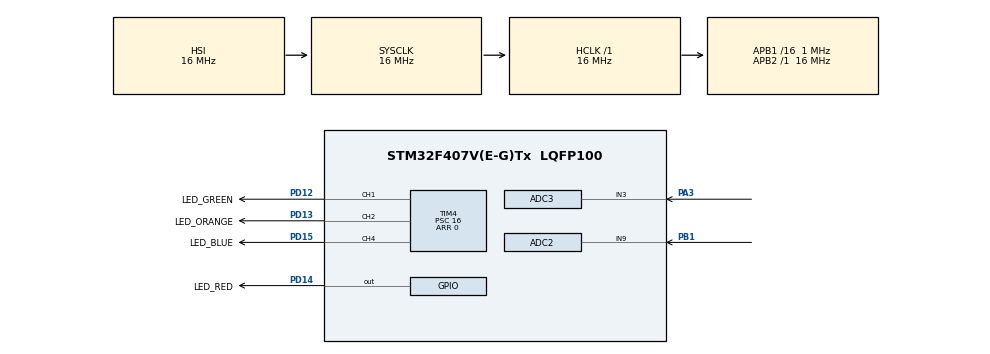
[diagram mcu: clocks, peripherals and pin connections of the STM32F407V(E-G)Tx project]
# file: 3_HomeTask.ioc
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ADC1.Channel-0\#ChannelRegularConversion=ADC_CHANNEL_TEMPSENSOR
ADC1.ClockPrescaler=ADC_CLOCK_SYNC_PCLK_DIV2
ADC1.ContinuousConvMode=ENABLE
ADC1.DiscontinuousConvMode=DISABLE
ADC1.EOCSelection=ADC_EOC_SINGLE_CONV
ADC1.InjNumberOfConversion=0
ADC1.NbrOfConversion=1
ADC1.NbrOfConversionFlag=1
ADC1.Rank-0\#ChannelRegularConversion=1
ADC1.SamplingTime-0\#ChannelRegularConversion=ADC_SAMPLETIME_112CYCLES
ADC1.master=1
ADC2.Channel-0\#ChannelRegularConversion=ADC_CHANNEL_9
ADC2.NbrOfConversionFlag=1
ADC2.Rank-0\#ChannelRegularConversion=1
ADC2.SamplingTime-0\#ChannelRegularConversion=ADC_SAMPLETIME_480CYCLES
ADC3.Channel-0\#ChannelRegularConversion=ADC_CHANNEL_3
ADC3.NbrOfConversionFlag=1
ADC3.Rank-0\#ChannelRegularConversion=1
ADC3.SamplingTime-0\#ChannelRegularConversion=ADC_SAMPLETIME_480CYCLES
Mcu.Family=STM32F4
Mcu.Name=STM32F407V(E-G)Tx
Mcu.Package=LQFP100
NVIC.PriorityGroup=NVIC_PRIORITYGROUP_4
PA3.Signal=ADCx_IN3
PB1.Signal=ADCx_IN9
PD12.GPIO_Label=LED_GREEN
PD12.GPIO_PuPd=GPIO_PULLDOWN
PD12.Signal=S_TIM4_CH1
PD13.GPIO_Label=LED_ORANGE
PD13.GPIO_PuPd=GPIO_PULLDOWN
PD13.Signal=S_TIM4_CH2
PD14.GPIO_Label=LED_RED
PD14.GPIO_PuPd=GPIO_PULLDOWN
PD14.GPIO_Speed=GPIO_SPEED_FREQ_LOW
PD14.Signal=GPIO_Output
PD15.GPIO_Label=LED_BLUE
PD15.GPIO_PuPd=GPIO_PULLDOWN
PD15.Signal=S_TIM4_CH4
ProjectManager.HeapSize=0x200
ProjectManager.StackSize=0x400
ProjectManager.TargetToolchain=STM32CubeIDE
RCC.48MHZClocksFreq_Value=48000000
RCC.AHBFreq_Value=16000000
RCC.APB1CLKDivider=RCC_HCLK_DIV16
RCC.APB1Freq_Value=1000000
RCC.APB1TimFreq_Value=2000000
RCC.APB2Freq_Value=16000000
RCC.APB2TimFreq_Value=16000000
RCC.CortexFreq_Value=16000000
RCC.HCLKFreq_Value=16000000
RCC.HSE_VALUE=25000000
RCC.HSI_VALUE=16000000
RCC.LSE_VALUE=32768
RCC.SYSCLKFreq_VALUE=16000000
RCC.VCOOutputFreq_Value=192000000
SH.ADCx_IN3.0=ADC3_IN3,IN3
SH.ADCx_IN9.0=ADC2_IN9,IN9
SH.S_TIM4_CH1.0=TIM4_CH1,PWM Generation1 CH1
SH.S_TIM4_CH2.0=TIM4_CH2,PWM Generation2 CH2
SH.S_TIM4_CH4.0=TIM4_CH4,PWM Generation4 CH4
TIM4.Channel-PWM\ Generation1\ CH1=TIM_CHANNEL_1
TIM4.Channel-PWM\ Generation2\ CH2=TIM_CHANNEL_2
TIM4.Channel-PWM\ Generation4\ CH4=TIM_CHANNEL_4
TIM4.Period=0
TIM4.Prescaler=16
TIM4.Pulse-PWM\ Generation1\ CH1=0
TIM4.Pulse-PWM\ Generation2\ CH2=0
TIM4.Pulse-PWM\ Generation4\ CH4=0
VP_ADC1_TempSens_Input.Mode=IN-TempSens
VP_TIM4_VS_ClockSourceINT.Mode=Internal
board=custom

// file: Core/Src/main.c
/* USER CODE BEGIN Header */
/**
 ******************************************************************************
 * @file           : main.c
 * @brief          : Main program body
 ******************************************************************************
 * @attention
 *
 * <h2><center>&copy; Copyright (c) 2021 STMicroelectronics.
 * All rights reserved.</center></h2>
 *
 * This software component is licensed by ST under BSD 3-Clause license,
 * the "License"; You may not use this file except in compliance with the
 * License. You may obtain a copy of the License at:
 *                        opensource.org/licenses/BSD-3-Clause
 *
 ******************************************************************************
 */
/* USER CODE END Header */
#include "main.h"

/* USER CODE BEGIN PTD */

typedef enum
{
	NORMAL, EMERGENCY_SIT
} state;

/* USER CODE END PTD */

/* USER CODE BEGIN PD */
#define CRITICAL_INT_TEMP 60  //critical internal temperature (°C) at which emergency mode is activated
#define HYSTERESIS_INT_TEMP 5 //hysteresis with decreasing internal temperature
#define CRITICAL_EXT_TEMP 60  //critical external temperature (°C) at which emergency mode is activated
#define HYSTERESIS_EXT_TEMP 5     //hysteresis with decreasing external temperature
#define CRITICAL_POT_VALUE 90 //critical value from the potentiometer, at which the emergency mode is activated
#define HYSTERESIS_POT 10     //hysteresis with decreasing value from the potentiometer
/* USER CODE END PD */

ADC_HandleTypeDef hadc1;
ADC_HandleTypeDef hadc2;
ADC_HandleTypeDef hadc3;

TIM_HandleTypeDef htim4;

/* USER CODE BEGIN PV */
volatile uint32_t emergency_timer = 0; //see stm32f4xx_it.c lines 48,192
state channel_1_state = NORMAL;
state channel_2_state = NORMAL;
state channel_3_state = NORMAL;
uint8_t emergency_tot = 0; //total number of active emergencies
/* USER CODE END PV */

void SystemClock_Config(void);
static void MX_GPIO_Init(void);
static void MX_ADC1_Init(void);
static void MX_TIM4_Init(void);
static void MX_ADC2_Init(void);
static void MX_ADC3_Init(void);

/* USER CODE BEGIN 0 */

void IndicateADC(uint32_t green_duty_cycle, uint32_t orange_duty_cycle, uint32_t blue_duty_cycle)
{
	TIM4->CCR1 = green_duty_cycle; //external temp
	TIM4->CCR2 = orange_duty_cycle; //internal temp
	TIM4->CCR4 = blue_duty_cycle; //potentiometer voltage
	emergency_tot = channel_1_state + channel_2_state + channel_3_state; //total number of active emergencies
	if (emergency_tot == 0 && HAL_GPIO_ReadPin(GPIOD, LED_RED_Pin) == GPIO_PIN_SET)
		HAL_GPIO_WritePin(GPIOD, LED_RED_Pin, GPIO_PIN_RESET);
	switch (emergency_tot)
	{
	case 1: //RED emergency blinking frequency 1 Hz (duty cycle 500ms/1000ms =50%)
		if (emergency_timer >= 500)
		{
			HAL_GPIO_TogglePin(GPIOD, LED_RED_Pin);
			emergency_timer = 0;
		}

		break;
	case 2: //RED emergency blinking frequency 2.5 Hz (duty cycle 200ms/400ms =50%)
		if (emergency_timer >= 200)
		{
			HAL_GPIO_TogglePin(GPIOD, LED_RED_Pin);
			emergency_timer = 0;
		}

		break;
	case 3: //RED emergency blinking frequency 5 Hz (duty cycle 100ms/200ms =50%)
		if (emergency_timer >= 100)
		{
			HAL_GPIO_TogglePin(GPIOD, LED_RED_Pin);
			emergency_timer = 0;
		}
		break;
	}
}

uint32_t GetPotentiometerVoltage(void)
{
	volatile HAL_StatusTypeDef adcPoolResult;
	uint32_t valuePot = 0;
	HAL_ADC_Start(&hadc3);
	adcPoolResult = HAL_ADC_PollForConversion(&hadc3, 1);
	if (adcPoolResult == HAL_OK)
	{
		valuePot = (HAL_ADC_GetValue(&hadc3) * 100) / 4095;
		if ((valuePot) > CRITICAL_POT_VALUE)
		{
			channel_1_state = EMERGENCY_SIT;
		}
		else if ((valuePot + HYSTERESIS_POT) < CRITICAL_POT_VALUE)
		{
			channel_1_state = NORMAL;
		}
	}
	HAL_ADC_Stop(&hadc3);
	return valuePot;
}

uint32_t GetInternalTemperature(void)
{
	volatile HAL_StatusTypeDef adcPoolResult;
	uint32_t internalTemp = 0, valueInTemp = 0;
	double voltageInTemp;
	HAL_ADC_Start(&hadc1);
	adcPoolResult = HAL_ADC_PollForConversion(&hadc1, 100);
	if (adcPoolResult == HAL_OK)
	{
		valueInTemp = HAL_ADC_GetValue(&hadc1); // read value from internal temperature sensor
		voltageInTemp = (double) valueInTemp * (3.3 / 4096); //convert valueInTemp to voltage
		internalTemp = (voltageInTemp - 0.76) / 0.0025 + 25; //convert voltage to temperature in °C
		if (internalTemp > CRITICAL_INT_TEMP)
		{
			channel_2_state = EMERGENCY_SIT;
		}
		else if ((internalTemp + HYSTERESIS_INT_TEMP) < CRITICAL_INT_TEMP)
		{
			channel_2_state = NORMAL;
		}
	}
	HAL_ADC_Stop(&hadc1);
	return internalTemp;
}

uint32_t GetExternalTemperature(void)
{
	volatile HAL_StatusTypeDef adcPoolResult;
	uint32_t externalTemp = 0, valueExTemp = 0;
	HAL_ADC_Start(&hadc2);
	adcPoolResult = HAL_ADC_PollForConversion(&hadc2, 100);
	if (adcPoolResult == HAL_OK)
	{
		valueExTemp = HAL_ADC_GetValue(&hadc2); // read value from external temperature sensor
		externalTemp = ((4095 - valueExTemp) * 124) / 4095 - 24; //convert value to temperature in the range from -24 to 100°C.
		if (externalTemp > CRITICAL_EXT_TEMP)
		{
			channel_3_state = EMERGENCY_SIT;
		}
		else if ((externalTemp + HYSTERESIS_EXT_TEMP) < CRITICAL_EXT_TEMP)
		{
			channel_3_state = NORMAL;
		}
	}
	HAL_ADC_Stop(&hadc2);
	return externalTemp;
}
/* USER CODE END 0 */

int main(void)
{

	/* MCU Configuration--------------------------------------------------------*/

	/* Reset of all peripherals, Initializes the Flash interface and the Systick. */
	HAL_Init();

	/* Configure the system clock */
	SystemClock_Config();

	/* Initialize all configured peripherals */
	MX_GPIO_Init();
	MX_ADC1_Init();
	MX_TIM4_Init();
	MX_ADC2_Init();
	MX_ADC3_Init();
	/* USER CODE BEGIN 2 */
	HAL_TIM_PWM_Start(&htim4, TIM_CHANNEL_1);
	HAL_TIM_PWM_Start(&htim4, TIM_CHANNEL_2);
	HAL_TIM_PWM_Start(&htim4, TIM_CHANNEL_3);
	HAL_TIM_PWM_Start(&htim4, TIM_CHANNEL_4);
	TIM4->ARR = 100; //set TIM4 counter period
	/* USER CODE END 2 */

	/* Infinite loop */
	/* USER CODE BEGIN WHILE */

	while (1)
	{
		uint32_t valuePot = GetPotentiometerVoltage();
		uint32_t internalTemp = GetInternalTemperature();
		uint32_t externalTemp = GetExternalTemperature();
		IndicateADC(externalTemp, internalTemp, valuePot);
		/* USER CODE END WHILE */

	}
}

void SystemClock_Config(void)
{
	RCC_OscInitTypeDef RCC_OscInitStruct =
	{ 0 };
	RCC_ClkInitTypeDef RCC_ClkInitStruct =
	{ 0 };

	/** Configure the main internal regulator output voltage
	 */
	__HAL_RCC_PWR_CLK_ENABLE();
	__HAL_PWR_VOLTAGESCALING_CONFIG(PWR_REGULATOR_VOLTAGE_SCALE1);
	/** Initializes the RCC Oscillators according to the specified parameters
	 * in the RCC_OscInitTypeDef structure.
	 */
	RCC_OscInitStruct.OscillatorType = RCC_OSCILLATORTYPE_HSI;
	RCC_OscInitStruct.HSIState = RCC_HSI_ON;
	RCC_OscInitStruct.HSICalibrationValue = RCC_HSICALIBRATION_DEFAULT;
	RCC_OscInitStruct.PLL.PLLState = RCC_PLL_NONE;
	if (HAL_RCC_OscConfig(&RCC_OscInitStruct) != HAL_OK)
	{
		Error_Handler();
	}
	/** Initializes the CPU, AHB and APB buses clocks
	 */
	RCC_ClkInitStruct.ClockType = RCC_CLOCKTYPE_HCLK | RCC_CLOCKTYPE_SYSCLK | RCC_CLOCKTYPE_PCLK1 | RCC_CLOCKTYPE_PCLK2;
	RCC_ClkInitStruct.SYSCLKSource = RCC_SYSCLKSOURCE_HSI;
	RCC_ClkInitStruct.AHBCLKDivider = RCC_SYSCLK_DIV1;
	RCC_ClkInitStruct.APB1CLKDivider = RCC_HCLK_DIV16;
	RCC_ClkInitStruct.APB2CLKDivider = RCC_HCLK_DIV1;

	if (HAL_RCC_ClockConfig(&RCC_ClkInitStruct, FLASH_LATENCY_0) != HAL_OK)
	{
		Error_Handler();
	}
}

static void MX_ADC1_Init(void)
{

	ADC_ChannelConfTypeDef sConfig =
	{ 0 };

	/** Configure the global features of the ADC (Clock, Resolution, Data Alignment and number of conversion)
	 */
	hadc1.Instance = ADC1;
	hadc1.Init.ClockPrescaler = ADC_CLOCK_SYNC_PCLK_DIV2;
	hadc1.Init.Resolution = ADC_RESOLUTION_12B;
	hadc1.Init.ScanConvMode = DISABLE;
	hadc1.Init.ContinuousConvMode = ENABLE;
	hadc1.Init.DiscontinuousConvMode = DISABLE;
	hadc1.Init.ExternalTrigConvEdge = ADC_EXTERNALTRIGCONVEDGE_NONE;
	hadc1.Init.ExternalTrigConv = ADC_SOFTWARE_START;
	hadc1.Init.DataAlign = ADC_DATAALIGN_RIGHT;
	hadc1.Init.NbrOfConversion = 1;
	hadc1.Init.DMAContinuousRequests = DISABLE;
	hadc1.Init.EOCSelection = ADC_EOC_SINGLE_CONV;
	if (HAL_ADC_Init(&hadc1) != HAL_OK)
	{
		Error_Handler();
	}
	/** Configure for the selected ADC regular channel its corresponding rank in the sequencer and its sample time.
	 */
	sConfig.Channel = ADC_CHANNEL_TEMPSENSOR;
	sConfig.Rank = 1;
	sConfig.SamplingTime = ADC_SAMPLETIME_112CYCLES;
	if (HAL_ADC_ConfigChannel(&hadc1, &sConfig) != HAL_OK)
	{
		Error_Handler();
	}

}

static void MX_ADC2_Init(void)
{

	ADC_ChannelConfTypeDef sConfig =
	{ 0 };

	/** Configure the global features of the ADC (Clock, Resolution, Data Alignment and number of conversion)
	 */
	hadc2.Instance = ADC2;
	hadc2.Init.ClockPrescaler = ADC_CLOCK_SYNC_PCLK_DIV2;
	hadc2.Init.Resolution = ADC_RESOLUTION_12B;
	hadc2.Init.ScanConvMode = DISABLE;
	hadc2.Init.ContinuousConvMode = ENABLE;
	hadc2.Init.DiscontinuousConvMode = DISABLE;
	hadc2.Init.ExternalTrigConvEdge = ADC_EXTERNALTRIGCONVEDGE_NONE;
	hadc2.Init.ExternalTrigConv = ADC_SOFTWARE_START;
	hadc2.Init.DataAlign = ADC_DATAALIGN_RIGHT;
	hadc2.Init.NbrOfConversion = 1;
	hadc2.Init.DMAContinuousRequests = DISABLE;
	hadc2.Init.EOCSelection = ADC_EOC_SINGLE_CONV;
	if (HAL_ADC_Init(&hadc2) != HAL_OK)
	{
		Error_Handler();
	}
	/** Configure for the selected ADC regular channel its corresponding rank in the sequencer and its sample time.
	 */
	sConfig.Channel = ADC_CHANNEL_9;
	sConfig.Rank = 1;
	sConfig.SamplingTime = ADC_SAMPLETIME_480CYCLES;
	if (HAL_ADC_ConfigChannel(&hadc2, &sConfig) != HAL_OK)
	{
		Error_Handler();
	}

}

static void MX_ADC3_Init(void)
{

	ADC_ChannelConfTypeDef sConfig =
	{ 0 };

	/** Configure the global features of the ADC (Clock, Resolution, Data Alignment and number of conversion)
	 */
	hadc3.Instance = ADC3;
	hadc3.Init.ClockPrescaler = ADC_CLOCK_SYNC_PCLK_DIV2;
	hadc3.Init.Resolution = ADC_RESOLUTION_12B;
	hadc3.Init.ScanConvMode = DISABLE;
	hadc3.Init.ContinuousConvMode = ENABLE;
	hadc3.Init.DiscontinuousConvMode = DISABLE;
	hadc3.Init.ExternalTrigConvEdge = ADC_EXTERNALTRIGCONVEDGE_NONE;
	hadc3.Init.ExternalTrigConv = ADC_SOFTWARE_START;
	hadc3.Init.DataAlign = ADC_DATAALIGN_RIGHT;
	hadc3.Init.NbrOfConversion = 1;
	hadc3.Init.DMAContinuousRequests = DISABLE;
	hadc3.Init.EOCSelection = ADC_EOC_SINGLE_CONV;
	if (HAL_ADC_Init(&hadc3) != HAL_OK)
	{
		Error_Handler();
	}
	/** Configure for the selected ADC regular channel its corresponding rank in the sequencer and its sample time.
	 */
	sConfig.Channel = ADC_CHANNEL_3;
	sConfig.Rank = 1;
	sConfig.SamplingTime = ADC_SAMPLETIME_480CYCLES;
	if (HAL_ADC_ConfigChannel(&hadc3, &sConfig) != HAL_OK)
	{
		Error_Handler();
	}

}

static void MX_TIM4_Init(void)
{

	TIM_ClockConfigTypeDef sClockSourceConfig =
	{ 0 };
	TIM_MasterConfigTypeDef sMasterConfig =
	{ 0 };
	TIM_OC_InitTypeDef sConfigOC =
	{ 0 };

	htim4.Instance = TIM4;
	htim4.Init.Prescaler = 16;
	htim4.Init.CounterMode = TIM_COUNTERMODE_UP;
	htim4.Init.Period = 0;
	htim4.Init.ClockDivision = TIM_CLOCKDIVISION_DIV1;
	htim4.Init.AutoReloadPreload = TIM_AUTORELOAD_PRELOAD_DISABLE;
	if (HAL_TIM_Base_Init(&htim4) != HAL_OK)
	{
		Error_Handler();
	}
	sClockSourceConfig.ClockSource = TIM_CLOCKSOURCE_INTERNAL;
	if (HAL_TIM_ConfigClockSource(&htim4, &sClockSourceConfig) != HAL_OK)
	{
		Error_Handler();
	}
	if (HAL_TIM_PWM_Init(&htim4) != HAL_OK)
	{
		Error_Handler();
	}
	sMasterConfig.MasterOutputTrigger = TIM_TRGO_RESET;
	sMasterConfig.MasterSlaveMode = TIM_MASTERSLAVEMODE_DISABLE;
	if (HAL_TIMEx_MasterConfigSynchronization(&htim4, &sMasterConfig) != HAL_OK)
	{
		Error_Handler();
	}
	sConfigOC.OCMode = TIM_OCMODE_PWM1;
	sConfigOC.Pulse = 0;
	sConfigOC.OCPolarity = TIM_OCPOLARITY_HIGH;
	sConfigOC.OCFastMode = TIM_OCFAST_DISABLE;
	if (HAL_TIM_PWM_ConfigChannel(&htim4, &sConfigOC, TIM_CHANNEL_1) != HAL_OK)
	{
		Error_Handler();
	}
	if (HAL_TIM_PWM_ConfigChannel(&htim4, &sConfigOC, TIM_CHANNEL_2) != HAL_OK)
	{
		Error_Handler();
	}
	if (HAL_TIM_PWM_ConfigChannel(&htim4, &sConfigOC, TIM_CHANNEL_4) != HAL_OK)
	{
		Error_Handler();
	}
	HAL_TIM_MspPostInit(&htim4);

}

static void MX_GPIO_Init(void)
{
	GPIO_InitTypeDef GPIO_InitStruct =
	{ 0 };

	/* GPIO Ports Clock Enable */
	__HAL_RCC_GPIOA_CLK_ENABLE();
	__HAL_RCC_GPIOB_CLK_ENABLE();
	__HAL_RCC_GPIOD_CLK_ENABLE();

	/*Configure GPIO pin Output Level */
	HAL_GPIO_WritePin(LED_RED_GPIO_Port, LED_RED_Pin, GPIO_PIN_RESET);

	/*Configure GPIO pin : LED_RED_Pin */
	GPIO_InitStruct.Pin = LED_RED_Pin;
	GPIO_InitStruct.Mode = GPIO_MODE_OUTPUT_PP;
	GPIO_InitStruct.Pull = GPIO_PULLDOWN;
	GPIO_InitStruct.Speed = GPIO_SPEED_FREQ_LOW;
	HAL_GPIO_Init(LED_RED_GPIO_Port, &GPIO_InitStruct);

}

void Error_Handler(void)
{
	__disable_irq();
	while (1)
	{
	}
}

/************************ (C) COPYRIGHT STMicroelectronics *****END OF FILE****/
